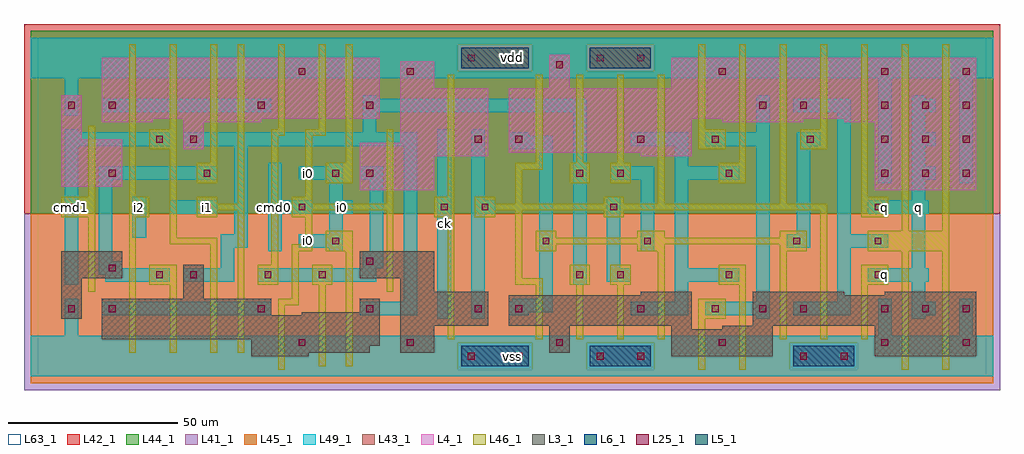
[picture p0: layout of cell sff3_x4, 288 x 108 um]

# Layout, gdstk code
import gdstk
lib = gdstk.Library(unit=1e-6, precision=1e-09)
def R(c, l, rs):  # rectangles x0, y0, x1, y1
    for r in rs: c.add(gdstk.rectangle(r[:2], r[2:], *l))
def A(c, l, x, y, w, h, nx, ny, dx, dy):  # array of equal rectangles
    R(c, l, [(x+i*dx, y+j*dy, x+i*dx+w, y+j*dy+h) for i in range(nx) for j in range(ny)])
L3_1 = (3, 1)
L4_1 = (4, 1)
L5_1 = (5, 1)
L6_1 = (6, 1)
L25_1 = (25, 1)
L41_1 = (41, 1)
L42_1 = (42, 1)
L43_1 = (43, 1)
L44_1 = (44, 1)
L45_1 = (45, 1)
L46_1 = (46, 1)
L49_1 = (49, 1)
L63_1 = (63, 1)

sff3_x4 = lib.new_cell('sff3_x4')
R(sff3_x4, L3_1, [(63,6,80,7), (187,6,217,14), (247,6,277,15), (63,7,98,9), (107,7,117,15), (151,7,157,15), (63,9,101,11), (19,11,101,18), (187,14,193,15), (202,14,217,15), (107,15,133,25), (139,15,193,24), (211,15,277,24), (7,17,13,29), (19,18,69,23), (78,18,101,19), (95,19,101,23), (43,23,49,33), (178,24,193,25), (211,24,238,25), (250,24,277,25), (107,25,117,29), (7,29,25,37), (95,29,117,37)])
R(sff3_x4, L4_1, [(95,55,117,65), (247,55,277,75), (7,56,25,70), (95,65,133,69), (178,65,193,66), (139,66,193,76), (43,67,49,75), (107,69,133,85), (7,70,13,83), (19,75,34,76), (43,75,66,76), (202,75,226,76), (238,75,277,76), (19,76,101,94), (139,76,277,85), (107,85,117,93), (151,85,157,95), (187,85,277,94)])
R(sff3_x4, L5_1, [(125,91,145,97), (163,91,181,97)])
R(sff3_x4, L6_1, [(125,3,145,9), (125,3,145,9), (163,3,181,9), (163,3,181,9), (223,3,241,9), (223,3,241,9)])
A(sff3_x4, L25_1, 77, 9, 2, 2, 1, 3, 0, 40)
A(sff3_x4, L25_1, 153, 9, 2, 2, 3, 1, 48, 0)
A(sff3_x4, L25_1, 65, 19, 2, 2, 3, 1, 32, 0)
A(sff3_x4, L25_1, 249, 19, 2, 2, 3, 2, 12, 40)
A(sff3_x4, L25_1, 247, 29, 2, 2, 1, 3, 0, 10)
A(sff3_x4, L25_1, 9, 49, 2, 2, 3, 1, 20, 0)
A(sff3_x4, L25_1, 249, 69, 2, 2, 3, 2, 12, 10)
R(sff3_x4, L25_1, [(127,5,129,7), (141,5,143,7), (165,5,167,7), (177,5,179,7), (225,5,227,7), (237,5,239,7), (109,9,111,11), (273,9,275,11), (9,19,11,21), (21,19,23,21), (141,19,143,21), (177,19,179,21), (199,19,201,21), (213,19,215,21), (225,19,227,21), (35,29,37,31), (45,29,47,31), (67,29,69,31), (83,29,85,31), (159,29,161,31), (171,29,173,31), (203,29,205,31), (21,31,23,33), (97,33,99,35), (87,39,89,41), (149,39,151,41), (179,39,181,41), (223,39,225,41), (119,49,121,51), (131,49,133,51), (169,49,171,51), (21,59,23,61), (49,59,51,61), (87,59,89,61), (97,59,99,61), (159,59,161,61), (171,59,173,61), (203,59,205,61), (35,69,37,71), (45,69,47,71), (129,69,131,71), (141,69,143,71), (177,69,179,71), (199,69,201,71), (227,69,229,71), (9,79,11,81), (21,79,23,81), (65,79,67,81), (97,79,99,81), (213,79,215,81), (225,79,227,81), (109,89,111,91), (201,89,203,91), (249,89,251,91), (273,89,275,91), (153,91,155,93), (127,93,129,95), (141,93,143,95), (165,93,167,95), (177,93,179,95)])
R(sff3_x4, L41_1, [(-4,-4,284,48)])
R(sff3_x4, L42_1, [(-4,48,284,104)])
R(sff3_x4, L43_1, [(125,3,145,9), (163,3,181,9), (223,3,241,9), (63,6,80,7), (187,6,217,14), (247,6,277,15), (63,7,98,9), (107,7,117,15), (151,7,157,15), (63,9,101,11), (19,11,101,18), (187,14,193,15), (202,14,217,15), (107,15,133,25), (139,15,193,24), (211,15,277,24), (7,17,13,29), (19,18,69,23), (78,18,101,19), (95,19,101,23), (43,23,49,33), (178,24,193,25), (211,24,238,25), (250,24,277,25), (107,25,117,29), (7,29,25,37), (95,29,117,37), (95,55,117,65), (247,55,277,75), (7,56,25,70), (95,65,133,69), (178,65,193,66), (139,66,193,76), (43,67,49,75), (107,69,133,85), (7,70,13,83), (19,75,34,76), (43,75,66,76), (202,75,226,76), (238,75,277,76), (19,76,101,94), (139,76,277,85), (107,85,117,93), (151,85,157,95), (187,85,277,94), (125,91,145,97), (163,91,181,97)])
R(sff3_x4, L44_1, [(124,2,146,10), (162,2,182,10), (222,2,242,10), (-2,48,282,90), (-2,90,124,98), (146,90,162,98), (182,90,282,98), (-2,98,282,102)])
R(sff3_x4, L45_1, [(-2,-2,282,2), (-2,2,124,10), (146,2,162,10), (182,2,222,10), (242,2,282,10), (-2,10,282,48), (124,90,146,98), (162,90,182,98)])
A(sff3_x4, L46_1, 147, 11, 2, 16, 3, 1, 12, 0)
A(sff3_x4, L46_1, 147, 63, 2, 26, 3, 1, 12, 0)
R(sff3_x4, L46_1, [(71,2,73,21), (195,2,197,17), (207,2,209,27), (255,2,257,37), (267,2,269,37), (83,3,85,27), (91,3,93,37), (27,7,29,47), (39,7,41,27), (51,7,53,39), (59,7,61,49), (121,11,123,47), (183,11,185,37), (219,11,221,37), (231,11,233,49), (243,11,245,27), (195,17,203,23), (71,21,77,23), (75,23,77,37), (15,25,17,47), (103,25,105,49), (33,27,41,33), (65,27,71,33), (81,27,87,33), (141,27,149,29), (157,27,163,33), (169,27,175,33), (201,27,209,33), (243,27,251,33), (141,29,143,49), (69,33,71,71), (75,37,81,39), (85,37,93,43), (147,37,153,39), (177,37,185,39), (219,37,227,39), (245,37,269,43), (39,39,53,41), (79,39,81,47), (147,39,227,41), (39,41,41,67), (147,41,153,43), (177,41,185,43), (219,41,227,43), (255,43,257,98), (267,43,269,98), (7,47,17,53), (27,47,33,53), (47,47,53,49), (75,47,81,49), (117,47,123,53), (129,47,135,49), (167,47,173,49), (243,47,251,53), (47,49,61,51), (75,49,105,51), (129,49,233,51), (47,51,53,53), (59,51,61,98), (75,51,81,53), (103,51,105,73), (129,51,135,53), (141,51,143,61), (167,51,173,53), (183,51,185,89), (219,51,221,98), (15,53,17,74), (27,53,29,98), (79,53,81,71), (121,53,123,89), (243,53,245,98), (47,57,53,63), (85,57,93,63), (157,57,163,63), (169,57,175,63), (201,57,209,63), (141,61,149,63), (51,63,53,98), (91,63,93,98), (207,63,209,98), (33,67,41,73), (195,67,203,73), (225,67,233,73), (69,71,73,73), (79,71,85,73), (39,73,41,98), (71,73,73,98), (83,73,85,98), (195,73,197,98), (231,73,233,98)])
A(sff3_x4, L49_1, 258, 52, 4, 6, 1, 3, 0, 10)
A(sff3_x4, L49_1, 258, 58, 7, 4, 1, 3, 0, 10)
R(sff3_x4, L49_1, [(-2,0,282,12), (8,12,12,23), (248,12,252,23), (272,12,276,23), (118,17,122,73), (128,17,132,48), (212,17,216,18), (258,17,262,18), (19,18,69,22), (95,18,112,22), (139,18,145,19), (175,18,192,22), (197,18,216,22), (223,18,240,22), (258,18,265,22), (139,19,152,22), (108,22,112,68), (140,22,152,23), (188,22,192,28), (212,22,216,68), (236,22,240,38), (258,22,262,28), (148,23,152,67), (8,27,12,68), (158,27,162,78), (20,28,39,30), (43,28,58,32), (65,28,100,32), (168,28,175,32), (188,28,207,32), (245,28,263,32), (18,30,39,32), (18,32,25,34), (54,32,58,38), (96,32,102,37), (168,32,172,53), (188,32,192,58), (258,32,262,48), (18,34,22,58), (68,37,72,48), (86,37,90,38), (98,37,102,58), (178,37,182,58), (54,38,62,42), (77,38,90,42), (221,38,228,42), (236,38,251,42), (28,41,32,53), (58,42,62,68), (86,42,90,48), (224,42,228,68), (236,42,240,78), (39,48,53,52), (68,48,81,52), (86,48,93,52), (128,48,135,52), (245,48,263,52), (68,52,72,63), (86,52,90,58), (128,52,132,73), (248,57,252,88), (272,57,276,88), (18,58,53,62), (77,58,90,62), (95,58,102,62), (169,58,182,62), (188,58,207,62), (86,62,90,63), (188,62,192,68), (140,67,152,68), (8,68,39,72), (43,68,112,72), (139,68,152,71), (175,68,192,72), (197,68,216,72), (224,68,231,72), (139,71,145,72), (8,72,12,73), (96,72,100,78), (212,72,216,83), (8,77,12,88), (19,78,69,82), (96,78,162,82), (223,78,240,82), (96,82,100,83), (258,82,262,83), (-2,88,282,100)])
R(sff3_x4, L63_1, [(0,0,280,100)])
sff3_x4.add(gdstk.Label('i2', (30,50), layer=49, texttype=1))
sff3_x4.add(gdstk.Label('cmd1', (10,50), layer=49, texttype=1))
sff3_x4.add(gdstk.Label('i0', (80,40), layer=49, texttype=1))
sff3_x4.add(gdstk.Label('i1', (50,50), layer=49, texttype=1))
sff3_x4.add(gdstk.Label('cmd0', (70,50), layer=49, texttype=1))
sff3_x4.add(gdstk.Label('i0', (80,60), layer=49, texttype=1))
sff3_x4.add(gdstk.Label('ck', (120,45), layer=49, texttype=1))
sff3_x4.add(gdstk.Label('i0', (90,50), layer=49, texttype=1))
sff3_x4.add(gdstk.Label('vss', (140,6), layer=49, texttype=1))
sff3_x4.add(gdstk.Label('vdd', (140,94), layer=49, texttype=1))
sff3_x4.add(gdstk.Label('q', (250,30), layer=49, texttype=1))
sff3_x4.add(gdstk.Label('q', (250,50), layer=49, texttype=1))
sff3_x4.add(gdstk.Label('q', (260,50), layer=49, texttype=1))

lib.write_gds('sff3_x4.gds')
